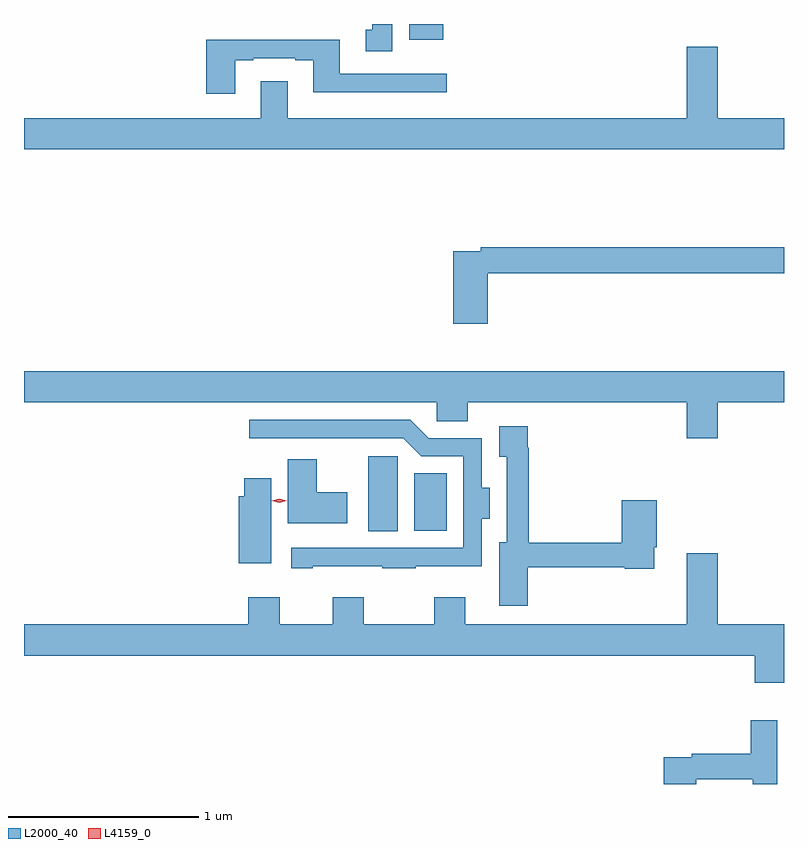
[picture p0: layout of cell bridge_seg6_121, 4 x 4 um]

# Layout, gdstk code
import gdstk
lib = gdstk.Library(unit=1e-6, precision=1e-09)
def R(c, l, rs):  # rectangles x0, y0, x1, y1
    for r in rs: c.add(gdstk.rectangle(r[:2], r[2:], *l))
def P(c, l, *ps):  # polygons
    for p in ps: c.add(gdstk.Polygon(p, *l))
L2000_40 = (2000, 40)
L4159_0 = (4159, 0)

bridge_seg6_121 = lib.new_cell('bridge_seg6_121')
R(bridge_seg6_121, L2000_40, [(451.043,981.289,451.198,981.685), (451.286,981.293,451.456,981.595), (451.259,983.876,451.438,983.96)])
P(bridge_seg6_121, L2000_40, [(451.171,983.96),(451.064,983.96),(451.064,983.93),(451.031,983.93),(451.031,983.817),(451.171,983.817)],
  [(450.343,983.769),(450.439,983.769),(450.439,983.781),(450.659,983.781),(450.659,983.769),(450.755,983.769),(450.755,983.6),(451.456,983.6),(451.456,983.697),(450.895,983.697),(450.895,983.878),(450.191,983.878),(450.191,983.592),(450.343,983.592)],
  [(453.232,983.464),(452.884,983.464),(452.884,983.839),(452.72,983.839),(452.72,983.464),(450.619,983.464),(450.619,983.659),(450.479,983.659),(450.479,983.464),(449.232,983.464),(449.232,983.3),(453.232,983.3)],
  [(451.673,982.648),(453.232,982.648),(453.232,982.784),(451.636,982.784),(451.636,982.764),(451.49,982.764),(451.49,982.383),(451.673,982.383)],
  [(452.884,981.968),(453.232,981.968),(453.232,982.132),(449.232,982.132),(449.232,981.968),(451.404,981.968),(451.404,981.87),(451.568,981.87),(451.568,981.968),(452.72,981.968),(452.72,981.78),(452.884,981.78)],
  [(450.751,981.107),(451.117,981.107),(451.117,981.096),(451.295,981.096),(451.295,981.107),(451.641,981.107),(451.641,981.356),(451.684,981.356),(451.684,981.52),(451.642,981.52),(451.642,981.78),(451.362,981.78),(451.266,981.876),(450.417,981.876),(450.417,981.78),(451.227,981.78),(451.323,981.684),(451.545,981.684),(451.545,981.204),(450.639,981.204),(450.639,981.096),(450.751,981.096)],
  [(451.883,981.102),(452.394,981.102),(452.394,981.094),(452.548,981.094),(452.548,981.205),(452.561,981.205),(452.561,981.454),(452.378,981.454),(452.378,981.23),(451.889,981.23),(451.889,981.731),(451.882,981.731),(451.882,981.844),(451.733,981.844),(451.733,981.683),(451.773,981.683),(451.773,981.232),(451.733,981.232),(451.733,980.898),(451.883,980.898)],
  [(450.934,981.496),(450.772,981.496),(450.772,981.67),(450.62,981.67),(450.62,981.332),(450.934,981.332)],
  [(450.532,981.568),(450.392,981.568),(450.392,981.475),(450.362,981.475),(450.362,981.123),(450.532,981.123)],
  [(453.232,980.8),(452.884,980.8),(452.884,981.175),(452.72,981.175),(452.72,980.8),(451.555,980.8),(451.555,980.944),(451.391,980.944),(451.391,980.8),(451.021,980.8),(451.021,980.944),(450.857,980.944),(450.857,980.8),(450.577,980.8),(450.577,980.944),(450.413,980.944),(450.413,980.8),(449.232,980.8),(449.232,980.636),(453.077,980.636),(453.077,980.493),(453.232,980.493)],
  [(452.77,979.984),(453.068,979.984),(453.068,979.96),(453.196,979.96),(453.196,980.296),(453.056,980.296),(453.056,980.12),(452.746,980.12),(452.746,980.1),(452.6,980.1),(452.6,979.96),(452.77,979.96)])
P(bridge_seg6_121, L4159_0, [(450.576,981.441),(450.536,981.451),(450.536,981.451),(450.536,981.451),(450.576,981.461),(450.616,981.451),(450.616,981.451),(450.616,981.451)])

lib.write_gds('bridge_seg6_121.gds')
